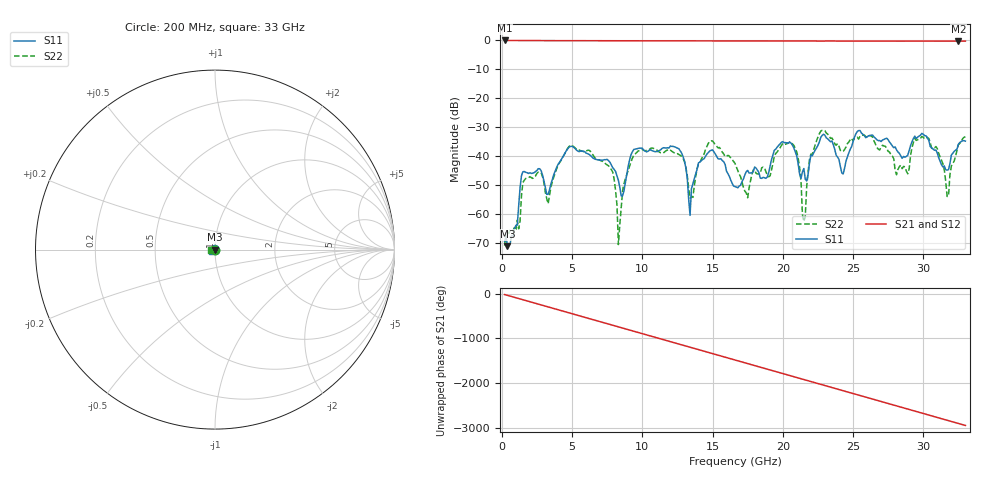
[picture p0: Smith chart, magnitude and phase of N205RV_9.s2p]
# GHZ S RI R 50
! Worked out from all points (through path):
!   329 points, 200 MHz to 33 GHz, reference 50 ohm
!   highest |S21| = -0.02 dB at 200 MHz (marker M1); lowest = -0.3 dB at 32.5 GHz (marker M2)
!   group delay of S21, straight-line fit = 248 ps
!   lowest |S11| = -71.0 dB at 400 MHz (marker M3), VSWR 1.00, Z = 50 + j0.000347 ohm
!   |S11| at or under -10 dB: start of sweep to end of sweep
!   |S22| runs from -70.9 to -31.0 dB; largest |S21 - S12| = 0.0019
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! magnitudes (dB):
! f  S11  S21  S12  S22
! 200 MHz  -69.4  0.0  0.0  -70.9
! 400 MHz  -71.0  0.0  0.0  -66.1
! 1.5 GHz  -45.4  -0.1  -0.1  -49.1
! 3.3 GHz  -53.1  -0.1  -0.1  -56.4
! 5.7 GHz  -38.3  -0.1  -0.1  -38.2
! 7.9 GHz  -44.0  -0.1  -0.1  -45.5
! 8.3 GHz  -48.4  -0.1  -0.1  -70.5
! 9.4 GHz  -37.6  -0.1  -0.1  -39.5
! 11.2 GHz  -38.1  -0.1  -0.1  -38.5
! 12.8 GHz  -38.9  -0.2  -0.2  -40.0
! 13.4 GHz  -60.4  -0.2  -0.2  -54.5
! 14.8 GHz  -38.2  -0.2  -0.2  -34.9
! 16.6 GHz  -50.5  -0.2  -0.2  -42.5
! 17.5 GHz  -44.9  -0.2  -0.2  -54.3
! 20.6 GHz  -35.5  -0.2  -0.2  -35.3
! 21.5 GHz  -44.2  -0.2  -0.2  -62.5
! 22.1 GHz  -39.8  -0.2  -0.2  -39.3
! 27.6 GHz  -35.1  -0.2  -0.2  -38.6
! 30.4 GHz  -34.6  -0.3  -0.3  -33.9
! 31.7 GHz  -44.8  -0.2  -0.2  -53.9
! 32.5 GHz  -35.9  -0.3  -0.3  -36.0
! 33 GHz  -34.8  -0.2  -0.2  -33.2
